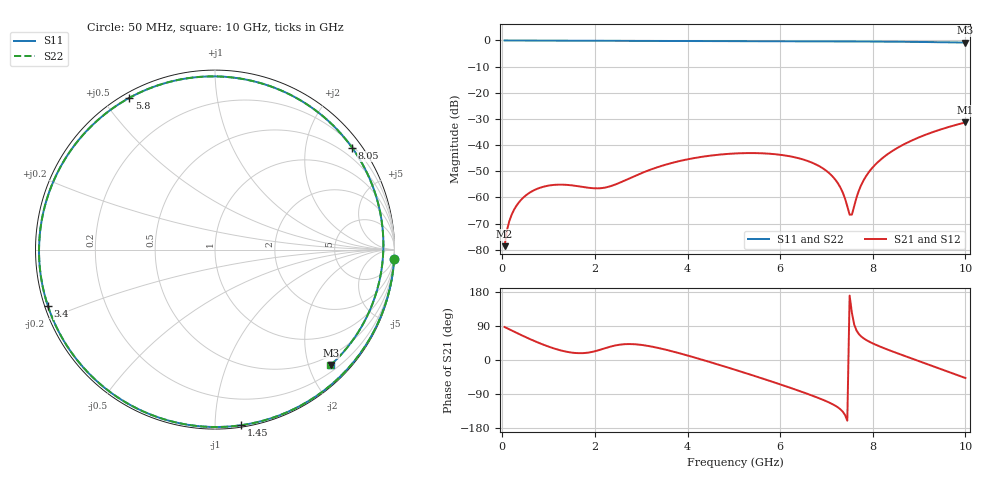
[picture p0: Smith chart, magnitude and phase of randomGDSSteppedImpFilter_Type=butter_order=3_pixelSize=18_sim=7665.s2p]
! freq	dB(S11)	phase(S11)	dB(S12)	phase(S12)
!  dB(S21)	phase(S21)	dB(S22)	phase(S22)
!S-par simulation data
#  GHz  S  DB  R 50
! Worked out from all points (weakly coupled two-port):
!   200 points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, 50 MHz to 10 GHz, reference 50 ohm
!   highest |S21| = -31.33 dB at 10 GHz (marker M1); lowest = -78.6 dB at 50 MHz (marker M2)
!   lowest |S11| = -0.8 dB at 10 GHz (marker M3), VSWR 21.37, Z = 15.8 - j119 ohm
!   |S11| at or under -10 dB: nowhere
!   |S22| runs from -0.8 to 0.0 dB; largest |S21 - S12| = 0
!   S11 on the Smith chart (normalised r, x): 50 MHz: 0, -37; 1.45 GHz: 0.01, -1.16; 3.4 GHz: 0.01, -0.16; 5.8 GHz: 0.02, +0.58; 8.05 GHz: 0.25, +3.01; 10 GHz: 0.32, -2.38
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0.05  -0.00 -3.1  -78.60 87.0  -78.60 87.0  -0.00 -3.1
0.1  -0.01 -6.1  -72.60 84.0  -72.60 84.0  -0.01 -6.1
0.2  -0.02 -12.1  -66.67 78.0  -66.67 78.0  -0.02 -12.1
0.45  -0.04 -27.0  -60.10 63.4  -60.10 63.4  -0.04 -27.0
0.9  -0.07 -52.8  -55.83 39.8  -55.83 39.8  -0.07 -52.8
1.45  -0.09 -81.6  -55.26 20.4  -55.26 20.4  -0.09 -81.6
1.75  -0.11 -96.0  -56.00 18.2  -56.00 18.2  -0.11 -96.0
2.6  -0.13 -132.1  -53.86 41.3  -53.86 41.3  -0.13 -132.1
3.4  -0.15 -161.4  -48.14 31.0  -48.14 31.0  -0.15 -161.4
4.2  -0.18 171.8  -44.76 4.9  -44.76 4.9  -0.18 171.8
5.05  -0.22 144.2  -43.15 -26.7  -43.15 -26.7  -0.22 144.2
5.8  -0.26 119.4  -43.32 -56.1  -43.32 -56.1  -0.26 119.4
6.7  -0.31 88.1  -46.78 -94.3  -46.78 -94.3  -0.31 88.1
7.2  -0.35 69.7  -53.39 -121.3  -53.39 -121.3  -0.35 69.6
7.35  -0.36 64.0  -58.02 -136.1  -58.02 -136.1  -0.36 64.0
7.5  -0.37 58.2  -66.57 170.0  -66.57 170.0  -0.37 58.2
7.55  -0.38 56.3  -66.52 124.1  -66.52 124.1  -0.38 56.3
7.8  -0.40 46.5  -53.49 57.4  -53.49 57.4  -0.40 46.5
8.05  -0.43 36.5  -47.52 41.0  -47.52 41.0  -0.43 36.5
8.35  -0.47 24.3  -43.08 26.1  -43.08 26.1  -0.47 24.3
9.15  -0.60 -8.9  -35.96 -9.6  -35.96 -9.6  -0.60 -9.0
10  -0.81 -45.0  -31.33 -47.6  -31.33 -47.6  -0.81 -45.0
